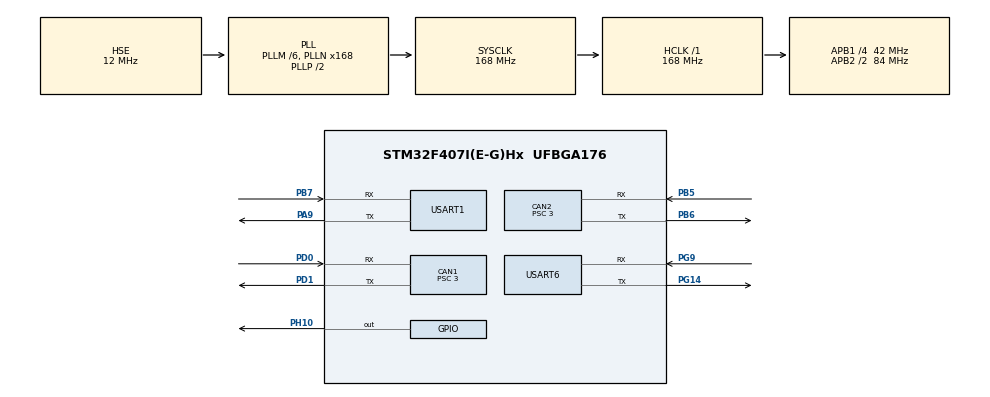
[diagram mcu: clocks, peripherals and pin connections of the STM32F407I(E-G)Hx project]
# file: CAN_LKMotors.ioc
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CAN1.BS1=CAN_BS1_10TQ
CAN1.BS2=CAN_BS2_3TQ
CAN1.CalculateBaudRate=1000000
CAN1.CalculateTimeBit=1000
CAN1.CalculateTimeQuantum=71.42857142857143
CAN1.Prescaler=3
CAN2.BS1=CAN_BS1_10TQ
CAN2.BS2=CAN_BS2_3TQ
CAN2.CalculateBaudRate=1000000
CAN2.CalculateTimeBit=1000
CAN2.CalculateTimeQuantum=71.42857142857143
CAN2.Prescaler=3
Dma.Request0=USART1_RX
Dma.Request1=USART6_RX
Dma.USART1_RX.0.Direction=DMA_PERIPH_TO_MEMORY
Dma.USART1_RX.0.FIFOMode=DMA_FIFOMODE_DISABLE
Dma.USART1_RX.0.Instance=DMA2_Stream2
Dma.USART1_RX.0.MemDataAlignment=DMA_MDATAALIGN_BYTE
Dma.USART1_RX.0.MemInc=DMA_MINC_ENABLE
Dma.USART1_RX.0.Mode=DMA_NORMAL
Dma.USART1_RX.0.PeriphDataAlignment=DMA_PDATAALIGN_BYTE
Dma.USART1_RX.0.PeriphInc=DMA_PINC_DISABLE
Dma.USART1_RX.0.Priority=DMA_PRIORITY_LOW
Dma.USART6_RX.1.Direction=DMA_PERIPH_TO_MEMORY
Dma.USART6_RX.1.FIFOMode=DMA_FIFOMODE_DISABLE
Dma.USART6_RX.1.Instance=DMA2_Stream1
Dma.USART6_RX.1.MemDataAlignment=DMA_MDATAALIGN_BYTE
Dma.USART6_RX.1.MemInc=DMA_MINC_ENABLE
Dma.USART6_RX.1.Mode=DMA_NORMAL
Dma.USART6_RX.1.PeriphDataAlignment=DMA_PDATAALIGN_BYTE
Dma.USART6_RX.1.PeriphInc=DMA_PINC_DISABLE
Dma.USART6_RX.1.Priority=DMA_PRIORITY_LOW
FREERTOS.Tasks01=LibraryHandler,32,512,StartLibraryHandler,Default,NULL,Dynamic,NULL,NULL;MainTask,24,2048,StartMainTask,Default,NULL,Dynamic,NULL,NULL
Mcu.Family=STM32F4
Mcu.Name=STM32F407I(E-G)Hx
Mcu.Package=UFBGA176
NVIC.CAN1_RX0_IRQn=true\:5\:0\:false\:false\:true\:true\:true\:true\:true
NVIC.CAN2_RX0_IRQn=true\:5\:0\:false\:false\:true\:true\:true\:true\:true
NVIC.DMA2_Stream1_IRQn=true\:5\:0\:false\:false\:true\:true\:false\:true\:true
NVIC.DMA2_Stream2_IRQn=true\:5\:0\:false\:false\:true\:true\:false\:true\:true
NVIC.PriorityGroup=NVIC_PRIORITYGROUP_4
NVIC.USART1_IRQn=true\:5\:0\:false\:false\:true\:true\:true\:true\:true
NVIC.USART6_IRQn=true\:5\:0\:false\:false\:true\:true\:true\:true\:true
PA9.Mode=Asynchronous
PA9.Signal=USART1_TX
PB5.Mode=CAN_Activate
PB5.Signal=CAN2_RX
PB6.Mode=CAN_Activate
PB6.Signal=CAN2_TX
PB7.Mode=Asynchronous
PB7.Signal=USART1_RX
PD0.Mode=CAN_Activate
PD0.Signal=CAN1_RX
PD1.Mode=CAN_Activate
PD1.Signal=CAN1_TX
PG14.Mode=Asynchronous
PG14.Signal=USART6_TX
PG9.Mode=Asynchronous
PG9.Signal=USART6_RX
PH0-OSC_IN.Mode=HSE-External-Oscillator
PH0-OSC_IN.Signal=RCC_OSC_IN
PH1-OSC_OUT.Mode=HSE-External-Oscillator
PH1-OSC_OUT.Signal=RCC_OSC_OUT
PH10.GPIO_PuPd=GPIO_PULLDOWN
PH10.Signal=GPIO_Output
ProjectManager.HeapSize=0x200
ProjectManager.StackSize=0x400
ProjectManager.TargetToolchain=STM32CubeIDE
RCC.48MHZClocksFreq_Value=84000000
RCC.AHBFreq_Value=168000000
RCC.APB1CLKDivider=RCC_HCLK_DIV4
RCC.APB1Freq_Value=42000000
RCC.APB1TimFreq_Value=84000000
RCC.APB2CLKDivider=RCC_HCLK_DIV2
RCC.APB2Freq_Value=84000000
RCC.APB2TimFreq_Value=168000000
RCC.CortexFreq_Value=168000000
RCC.HCLKFreq_Value=168000000
RCC.HSE_VALUE=12000000
RCC.HSI_VALUE=16000000
RCC.LSE_VALUE=32768
RCC.PLLM=6
RCC.PLLN=168
RCC.PLLSourceVirtual=RCC_PLLSOURCE_HSE
RCC.SYSCLKFreq_VALUE=168000000
RCC.SYSCLKSource=RCC_SYSCLKSOURCE_PLLCLK
RCC.VCOOutputFreq_Value=336000000
USART1.VirtualMode=VM_ASYNC
USART6.VirtualMode=VM_ASYNC
VP_FREERTOS_VS_CMSIS_V2.Mode=CMSIS_V2
VP_TIM13_VS_ClockSourceINT.Mode=Enable_Timer
board=custom

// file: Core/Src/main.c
/* USER CODE BEGIN Header */
/**
  ******************************************************************************
  * @file           : main.c
  * @brief          : Main program body
  ******************************************************************************
  * @attention
  *
  * Copyright (c) 2026 STMicroelectronics.
  * All rights reserved.
  *
  * This software is licensed under terms that can be found in the LICENSE file
  * in the root directory of this software component.
  * If no LICENSE file comes with this software, it is provided AS-IS.
  *
  ******************************************************************************
  */
/* USER CODE END Header */
#include "main.h"
#include "cmsis_os.h"

CAN_HandleTypeDef hcan1;
CAN_HandleTypeDef hcan2;

TIM_HandleTypeDef htim13;

UART_HandleTypeDef huart1;
UART_HandleTypeDef huart6;
DMA_HandleTypeDef hdma_usart1_rx;
DMA_HandleTypeDef hdma_usart6_rx;

/* Definitions for LibraryHandler */
osThreadId_t LibraryHandlerHandle;
const osThreadAttr_t LibraryHandler_attributes = {
  .name = "LibraryHandler",
  .stack_size = 512 * 4,
  .priority = (osPriority_t) osPriorityAboveNormal,
};
/* Definitions for MainTask */
osThreadId_t MainTaskHandle;
const osThreadAttr_t MainTask_attributes = {
  .name = "MainTask",
  .stack_size = 2048 * 4,
  .priority = (osPriority_t) osPriorityNormal,
};

void SystemClock_Config(void);
static void MX_GPIO_Init(void);
static void MX_DMA_Init(void);
static void MX_CAN1_Init(void);
static void MX_CAN2_Init(void);
static void MX_TIM13_Init(void);
static void MX_USART1_UART_Init(void);
static void MX_USART6_UART_Init(void);
void StartLibraryHandler(void *argument);
void StartMainTask(void *argument);

int main(void)
{

  /* MCU Configuration--------------------------------------------------------*/

  /* Reset of all peripherals, Initializes the Flash interface and the Systick. */
  HAL_Init();

  /* Configure the system clock */
  SystemClock_Config();

  /* Initialize all configured peripherals */
  MX_GPIO_Init();
  MX_DMA_Init();
  MX_CAN1_Init();
  MX_CAN2_Init();
  MX_TIM13_Init();
  MX_USART1_UART_Init();
  MX_USART6_UART_Init();

  /* Init scheduler */
  osKernelInitialize();

  /* Create the thread(s) */
  /* creation of LibraryHandler */
  LibraryHandlerHandle = osThreadNew(StartLibraryHandler, NULL, &LibraryHandler_attributes);

  /* creation of MainTask */
  MainTaskHandle = osThreadNew(StartMainTask, NULL, &MainTask_attributes);

  /* Start scheduler */
  osKernelStart();

  /* We should never get here as control is now taken by the scheduler */

  /* Infinite loop */
  while (1)
  {

  }
}

void SystemClock_Config(void)
{
  RCC_OscInitTypeDef RCC_OscInitStruct = {0};
  RCC_ClkInitTypeDef RCC_ClkInitStruct = {0};

  /** Configure the main internal regulator output voltage
  */
  __HAL_RCC_PWR_CLK_ENABLE();
  __HAL_PWR_VOLTAGESCALING_CONFIG(PWR_REGULATOR_VOLTAGE_SCALE1);

  /** Initializes the RCC Oscillators according to the specified parameters
  * in the RCC_OscInitTypeDef structure.
  */
  RCC_OscInitStruct.OscillatorType = RCC_OSCILLATORTYPE_HSE;
  RCC_OscInitStruct.HSEState = RCC_HSE_ON;
  RCC_OscInitStruct.PLL.PLLState = RCC_PLL_ON;
  RCC_OscInitStruct.PLL.PLLSource = RCC_PLLSOURCE_HSE;
  RCC_OscInitStruct.PLL.PLLM = 6;
  RCC_OscInitStruct.PLL.PLLN = 168;
  RCC_OscInitStruct.PLL.PLLP = RCC_PLLP_DIV2;
  RCC_OscInitStruct.PLL.PLLQ = 4;
  if (HAL_RCC_OscConfig(&RCC_OscInitStruct) != HAL_OK)
  {
    Error_Handler();
  }

  /** Initializes the CPU, AHB and APB buses clocks
  */
  RCC_ClkInitStruct.ClockType = RCC_CLOCKTYPE_HCLK|RCC_CLOCKTYPE_SYSCLK
                              |RCC_CLOCKTYPE_PCLK1|RCC_CLOCKTYPE_PCLK2;
  RCC_ClkInitStruct.SYSCLKSource = RCC_SYSCLKSOURCE_PLLCLK;
  RCC_ClkInitStruct.AHBCLKDivider = RCC_SYSCLK_DIV1;
  RCC_ClkInitStruct.APB1CLKDivider = RCC_HCLK_DIV4;
  RCC_ClkInitStruct.APB2CLKDivider = RCC_HCLK_DIV2;

  if (HAL_RCC_ClockConfig(&RCC_ClkInitStruct, FLASH_LATENCY_5) != HAL_OK)
  {
    Error_Handler();
  }
}

static void MX_CAN1_Init(void)
{

  hcan1.Instance = CAN1;
  hcan1.Init.Prescaler = 3;
  hcan1.Init.Mode = CAN_MODE_NORMAL;
  hcan1.Init.SyncJumpWidth = CAN_SJW_1TQ;
  hcan1.Init.TimeSeg1 = CAN_BS1_10TQ;
  hcan1.Init.TimeSeg2 = CAN_BS2_3TQ;
  hcan1.Init.TimeTriggeredMode = DISABLE;
  hcan1.Init.AutoBusOff = DISABLE;
  hcan1.Init.AutoWakeUp = DISABLE;
  hcan1.Init.AutoRetransmission = DISABLE;
  hcan1.Init.ReceiveFifoLocked = DISABLE;
  hcan1.Init.TransmitFifoPriority = DISABLE;
  if (HAL_CAN_Init(&hcan1) != HAL_OK)
  {
    Error_Handler();
  }

}

static void MX_CAN2_Init(void)
{

  hcan2.Instance = CAN2;
  hcan2.Init.Prescaler = 3;
  hcan2.Init.Mode = CAN_MODE_NORMAL;
  hcan2.Init.SyncJumpWidth = CAN_SJW_1TQ;
  hcan2.Init.TimeSeg1 = CAN_BS1_10TQ;
  hcan2.Init.TimeSeg2 = CAN_BS2_3TQ;
  hcan2.Init.TimeTriggeredMode = DISABLE;
  hcan2.Init.AutoBusOff = DISABLE;
  hcan2.Init.AutoWakeUp = DISABLE;
  hcan2.Init.AutoRetransmission = DISABLE;
  hcan2.Init.ReceiveFifoLocked = DISABLE;
  hcan2.Init.TransmitFifoPriority = DISABLE;
  if (HAL_CAN_Init(&hcan2) != HAL_OK)
  {
    Error_Handler();
  }

}

static void MX_TIM13_Init(void)
{

  htim13.Instance = TIM13;
  htim13.Init.Prescaler = 0;
  htim13.Init.CounterMode = TIM_COUNTERMODE_UP;
  htim13.Init.Period = 65535;
  htim13.Init.ClockDivision = TIM_CLOCKDIVISION_DIV1;
  htim13.Init.AutoReloadPreload = TIM_AUTORELOAD_PRELOAD_DISABLE;
  if (HAL_TIM_Base_Init(&htim13) != HAL_OK)
  {
    Error_Handler();
  }

}

static void MX_USART1_UART_Init(void)
{

  huart1.Instance = USART1;
  huart1.Init.BaudRate = 115200;
  huart1.Init.WordLength = UART_WORDLENGTH_8B;
  huart1.Init.StopBits = UART_STOPBITS_1;
  huart1.Init.Parity = UART_PARITY_NONE;
  huart1.Init.Mode = UART_MODE_TX_RX;
  huart1.Init.HwFlowCtl = UART_HWCONTROL_NONE;
  huart1.Init.OverSampling = UART_OVERSAMPLING_16;
  if (HAL_UART_Init(&huart1) != HAL_OK)
  {
    Error_Handler();
  }

}

static void MX_USART6_UART_Init(void)
{

  huart6.Instance = USART6;
  huart6.Init.BaudRate = 115200;
  huart6.Init.WordLength = UART_WORDLENGTH_8B;
  huart6.Init.StopBits = UART_STOPBITS_1;
  huart6.Init.Parity = UART_PARITY_NONE;
  huart6.Init.Mode = UART_MODE_TX_RX;
  huart6.Init.HwFlowCtl = UART_HWCONTROL_NONE;
  huart6.Init.OverSampling = UART_OVERSAMPLING_16;
  if (HAL_UART_Init(&huart6) != HAL_OK)
  {
    Error_Handler();
  }

}

static void MX_DMA_Init(void)
{

  /* DMA controller clock enable */
  __HAL_RCC_DMA2_CLK_ENABLE();

  /* DMA interrupt init */
  /* DMA2_Stream1_IRQn interrupt configuration */
  HAL_NVIC_SetPriority(DMA2_Stream1_IRQn, 5, 0);
  HAL_NVIC_EnableIRQ(DMA2_Stream1_IRQn);
  /* DMA2_Stream2_IRQn interrupt configuration */
  HAL_NVIC_SetPriority(DMA2_Stream2_IRQn, 5, 0);
  HAL_NVIC_EnableIRQ(DMA2_Stream2_IRQn);

}

static void MX_GPIO_Init(void)
{
  GPIO_InitTypeDef GPIO_InitStruct = {0};

  /* GPIO Ports Clock Enable */
  __HAL_RCC_GPIOB_CLK_ENABLE();
  __HAL_RCC_GPIOG_CLK_ENABLE();
  __HAL_RCC_GPIOD_CLK_ENABLE();
  __HAL_RCC_GPIOA_CLK_ENABLE();
  __HAL_RCC_GPIOH_CLK_ENABLE();

  /*Configure GPIO pin Output Level */
  HAL_GPIO_WritePin(GPIOH, GPIO_PIN_10, GPIO_PIN_RESET);

  /*Configure GPIO pin : PH10 */
  GPIO_InitStruct.Pin = GPIO_PIN_10;
  GPIO_InitStruct.Mode = GPIO_MODE_OUTPUT_PP;
  GPIO_InitStruct.Pull = GPIO_PULLDOWN;
  GPIO_InitStruct.Speed = GPIO_SPEED_FREQ_LOW;
  HAL_GPIO_Init(GPIOH, &GPIO_InitStruct);

}

void StartLibraryHandler(void *argument)
{
  /* USER CODE BEGIN 5 */
	UART_Init();
	CAN_Init_Buses(BUS1, BUS2);
	CAN_LinkLib(CAN_RMMotors(), CAN_LKMotors());
	CAN_RM_Init_Buses(BUS1, BUS2);
	CAN_LK_InitMotor(1,1);
	CAN_LK_InitMotor(1,2);
  /* Infinite loop */
  for(;;)
  {
	//CAN_RM_Update();
	CAN_LK_Update(5);
    osDelay(5);
  }
  /* USER CODE END 5 */
}

void StartMainTask(void *argument)
{
  /* USER CODE BEGIN StartMainTask */
	//float TestingPID[3] = {10.0,0.0,0.01};
  /* Infinite loop */
  for(;;)
  {
//	int16_t readPosA = getC620Pos(BUS1, 1);
//	int16_t readPosB = getC620Pos(BUS1, 2);
//	int16_t readPosC = getC620Pos(BUS1, 3);
//	UART_Printf(UART2,"$%d %d;",readPosA,readPosB,readPosC);
	uint8_t buttonPressed = !HAL_GPIO_ReadPin(GPIOA, GPIO_PIN_0);
//	if (buttonPressed) {
//		setC620RPM(BUS1, 1, 2000, TestingPID);
//		setC620RPM(BUS1, 2, 2000, TestingPID);
//	} else {
//		setC620RPM(BUS1, 1, 0, TestingPID);
//		setC620RPM(BUS1, 2, 0, TestingPID);
//	}
	if (buttonPressed) {
//		setLKAngleSingle(1, 9000, 0,200,200,1);
//		setLKAngleSingle(2, 9000, 0,50,50,1);
		setLKRPM(1, 300, 50, 50);
		setLKRPM(2, 300, 70, 70);
		HAL_GPIO_WritePin(GPIOH, GPIO_PIN_10, 1);
	} else {
		HAL_GPIO_WritePin(GPIOH, GPIO_PIN_10, 0);
		setLKRPM(1, 0, 50, 50);
		setLKRPM(2, 0, 70, 70);
	}
	//uint32_t readPosA = getLKAngleSingle(2);
	//UART_Printf(UART2,"$%d;",readPosA);
    osDelay(5);
  }
  /* USER CODE END StartMainTask */
}

void Error_Handler(void)
{
  __disable_irq();
  while (1)
  {
  }
}
